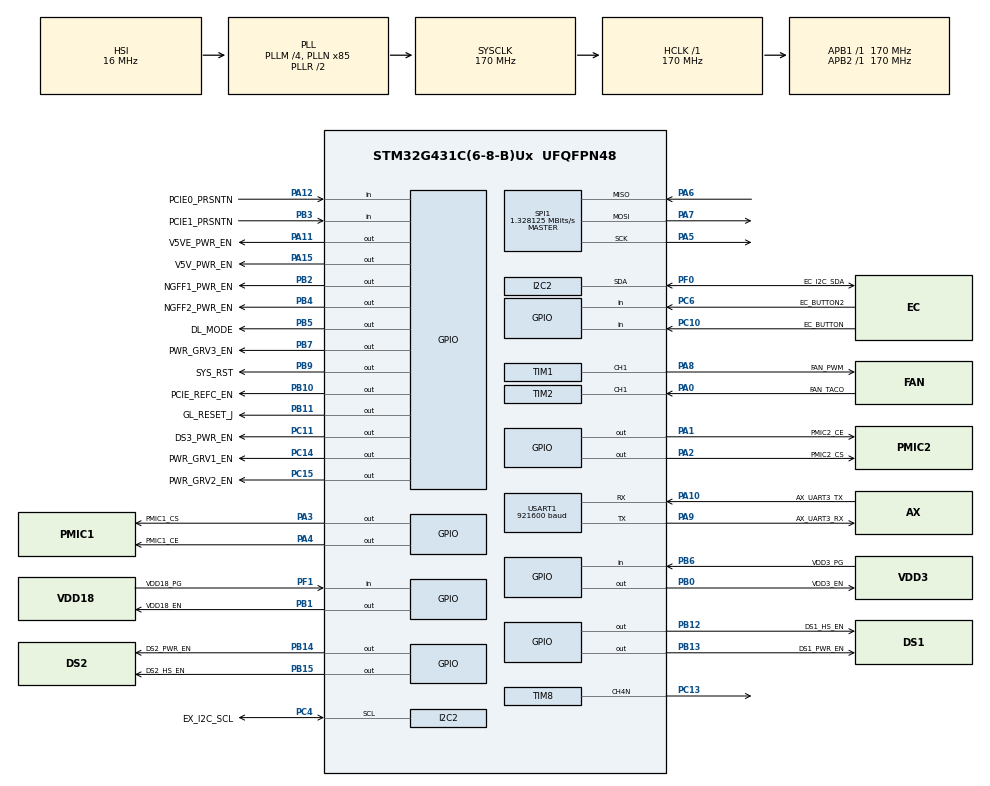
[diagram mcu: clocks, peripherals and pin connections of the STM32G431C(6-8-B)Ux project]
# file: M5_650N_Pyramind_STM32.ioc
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CRC.CRCLength=CRC_POLYLENGTH_16B
CRC.DefaultInitValueUse=DEFAULT_INIT_VALUE_DISABLE
CRC.DefaultPolynomialUse=DEFAULT_POLYNOMIAL_DISABLE
CRC.GeneratingPolynomial=X15+X2+X0
CRC.InitValue=0xFFFF
CRC.InputDataInversionMode=CRC_INPUTDATA_INVERSION_BYTE
CRC.OutputDataInversionMode=CRC_OUTPUTDATA_INVERSION_ENABLE
Dma.Request0=TIM8_CH4
Dma.TIM8_CH4.0.Direction=DMA_MEMORY_TO_PERIPH
Dma.TIM8_CH4.0.EventEnable=DISABLE
Dma.TIM8_CH4.0.Instance=DMA1_Channel5
Dma.TIM8_CH4.0.MemDataAlignment=DMA_MDATAALIGN_HALFWORD
Dma.TIM8_CH4.0.MemInc=DMA_MINC_ENABLE
Dma.TIM8_CH4.0.Mode=DMA_NORMAL
Dma.TIM8_CH4.0.PeriphDataAlignment=DMA_PDATAALIGN_HALFWORD
Dma.TIM8_CH4.0.PeriphInc=DMA_PINC_DISABLE
Dma.TIM8_CH4.0.Polarity=HAL_DMAMUX_REQ_GEN_RISING
Dma.TIM8_CH4.0.Priority=DMA_PRIORITY_LOW
Dma.TIM8_CH4.0.RequestNumber=1
Dma.TIM8_CH4.0.SignalID=NONE
Dma.TIM8_CH4.0.SyncEnable=DISABLE
Dma.TIM8_CH4.0.SyncPolarity=HAL_DMAMUX_SYNC_NO_EVENT
Dma.TIM8_CH4.0.SyncRequestNumber=1
Dma.TIM8_CH4.0.SyncSignalID=NONE
I2C2.I2C_Speed_Mode=I2C_Fast
I2C2.Timing=0x40621236
IWDG.Prescaler=IWDG_PRESCALER_32
IWDG.Window=4095
Mcu.Family=STM32G4
Mcu.Name=STM32G431C(6-8-B)Ux
Mcu.Package=UFQFPN48
NVIC.DMA1_Channel5_IRQn=true\:1\:0\:true\:false\:true\:false\:true\:true
NVIC.PriorityGroup=NVIC_PRIORITYGROUP_4
NVIC.TIM2_IRQn=true\:2\:0\:true\:false\:true\:true\:true\:true
NVIC.TIM3_IRQn=true\:1\:0\:true\:false\:true\:true\:true\:true
NVIC.USART1_IRQn=true\:0\:0\:false\:false\:true\:true\:true\:true
PA0.GPIO_Label=FAN_TACO
PA0.GPIO_PuPd=GPIO_PULLDOWN
PA0.GPIO_Speed=GPIO_SPEED_FREQ_VERY_HIGH
PA0.Signal=S_TIM2_CH1
PA1.GPIO_Label=PMIC2_CE
PA1.GPIO_PuPd=GPIO_NOPULL
PA1.GPIO_Speed=GPIO_SPEED_FREQ_LOW
PA1.PinState=GPIO_PIN_RESET
PA1.Signal=GPIO_Output
PA10.GPIO_Label=AX_UART3_TX
PA10.GPIO_PuPd=GPIO_NOPULL
PA10.GPIO_Speed=GPIO_SPEED_FREQ_LOW
PA10.Mode=Asynchronous
PA10.Signal=USART1_RX
PA11.GPIO_Label=V5VE_PWR_EN
PA11.GPIO_PuPd=GPIO_NOPULL
PA11.GPIO_Speed=GPIO_SPEED_FREQ_LOW
PA11.PinState=GPIO_PIN_RESET
PA11.Signal=GPIO_Output
PA12.GPIO_Label=PCIE0_PRSNTN
PA12.GPIO_PuPd=GPIO_PULLUP
PA12.Signal=GPIO_Input
PA13.Mode=Serial_Wire
PA13.Signal=SYS_JTMS-SWDIO
PA14.Mode=Serial_Wire
PA14.Signal=SYS_JTCK-SWCLK
PA15.GPIO_Label=V5V_PWR_EN
PA15.GPIO_PuPd=GPIO_NOPULL
PA15.GPIO_Speed=GPIO_SPEED_FREQ_LOW
PA15.Signal=GPIO_Output
PA2.GPIO_Label=PMIC2_CS
PA2.GPIO_ModeDefaultOutputPP=GPIO_MODE_OUTPUT_PP
PA2.GPIO_PuPd=GPIO_NOPULL
PA2.GPIO_Speed=GPIO_SPEED_FREQ_LOW
PA2.PinState=GPIO_PIN_SET
PA2.Signal=GPIO_Output
PA3.GPIO_Label=PMIC1_CS
PA3.GPIO_PuPd=GPIO_NOPULL
PA3.GPIO_Speed=GPIO_SPEED_FREQ_LOW
PA3.PinState=GPIO_PIN_SET
PA3.Signal=GPIO_Output
PA4.GPIO_Label=PMIC1_CE
PA4.GPIO_PuPd=GPIO_NOPULL
PA4.GPIO_Speed=GPIO_SPEED_FREQ_LOW
PA4.PinState=GPIO_PIN_RESET
PA4.Signal=GPIO_Output
PA5.Mode=Full_Duplex_Master
PA5.Signal=SPI1_SCK
PA6.Mode=Full_Duplex_Master
PA6.Signal=SPI1_MISO
PA7.Mode=Full_Duplex_Master
PA7.Signal=SPI1_MOSI
PA8.GPIO_Label=FAN_PWM
PA8.Signal=S_TIM1_CH1
PA9.GPIO_Label=AX_UART3_RX
PA9.GPIO_PuPd=GPIO_NOPULL
PA9.GPIO_Speed=GPIO_SPEED_FREQ_LOW
PA9.Mode=Asynchronous
PA9.Signal=USART1_TX
PB0.GPIO_Label=VDD3_EN
PB0.GPIO_PuPd=GPIO_NOPULL
PB0.Signal=GPIO_Output
PB1.GPIO_Label=VDD18_EN
PB1.GPIO_PuPd=GPIO_NOPULL
PB1.Signal=GPIO_Output
PB10.GPIO_Label=PCIE_REFC_EN
PB10.GPIO_PuPd=GPIO_NOPULL
PB10.Signal=GPIO_Output
PB11.GPIO_Label=GL_RESET_J
PB11.GPIO_PuPd=GPIO_NOPULL
PB11.Signal=GPIO_Output
PB12.GPIO_Label=DS1_HS_EN
PB12.GPIO_PuPd=GPIO_NOPULL
PB12.Signal=GPIO_Output
PB13.GPIO_Label=DS1_PWR_EN
PB13.GPIO_PuPd=GPIO_NOPULL
PB13.PinState=GPIO_PIN_SET
PB13.Signal=GPIO_Output
PB14.GPIO_Label=DS2_PWR_EN
PB14.GPIO_PuPd=GPIO_NOPULL
PB14.PinState=GPIO_PIN_SET
PB14.Signal=GPIO_Output
PB15.GPIO_Label=DS2_HS_EN
PB15.GPIO_PuPd=GPIO_NOPULL
PB15.Signal=GPIO_Output
PB2.GPIO_Label=NGFF1_PWR_EN
PB2.GPIO_PuPd=GPIO_NOPULL
PB2.Signal=GPIO_Output
PB3.GPIO_Label=PCIE1_PRSNTN
PB3.GPIO_PuPd=GPIO_PULLUP
PB3.Signal=GPIO_Input
PB4.GPIO_Label=NGFF2_PWR_EN
PB4.GPIO_PuPd=GPIO_NOPULL
PB4.Signal=GPIO_Output
PB5.GPIO_Label=DL_MODE
PB5.GPIO_PuPd=GPIO_NOPULL
PB5.Signal=GPIO_Output
PB6.GPIO_Label=VDD3_PG
PB6.GPIO_PuPd=GPIO_PULLUP
PB6.Signal=GPIO_Input
PB7.GPIO_Label=PWR_GRV3_EN
PB7.GPIO_PuPd=GPIO_NOPULL
PB7.PinState=GPIO_PIN_SET
PB7.Signal=GPIO_Output
PB9.GPIO_Label=SYS_RST
PB9.GPIO_ModeDefaultOutputPP=GPIO_MODE_OUTPUT_OD
PB9.GPIO_PuPd=GPIO_NOPULL
PB9.PinState=GPIO_PIN_RESET
PB9.Signal=GPIO_Output
PC10.GPIO_Label=EC_BUTTON
PC10.GPIO_PuPd=GPIO_PULLUP
PC10.Signal=GPIO_Input
PC11.GPIO_Label=DS3_PWR_EN
PC11.GPIO_PuPd=GPIO_NOPULL
PC11.PinState=GPIO_PIN_SET
PC11.Signal=GPIO_Output
PC13.Mode=PWM Generation4 CH4N
PC13.Signal=TIM8_CH4N
PC14-OSC32_IN.GPIO_Label=PWR_GRV1_EN
PC14-OSC32_IN.GPIO_PuPd=GPIO_NOPULL
PC14-OSC32_IN.PinState=GPIO_PIN_SET
PC14-OSC32_IN.Signal=GPIO_Output
PC15-OSC32_OUT.GPIO_Label=PWR_GRV2_EN
PC15-OSC32_OUT.GPIO_PuPd=GPIO_NOPULL
PC15-OSC32_OUT.Signal=GPIO_Output
PC4.GPIO_Label=EX_I2C_SCL
PC4.GPIO_Pu=GPIO_PULLUP
PC4.GPIO_Speed=GPIO_SPEED_FREQ_LOW
PC4.Mode=I2C
PC4.Signal=I2C2_SCL
PC6.GPIO_Label=EC_BUTTON2
PC6.GPIO_PuPd=GPIO_PULLUP
PC6.Signal=GPIO_Input
PF0-OSC_IN.GPIO_Label=EC_I2C_SDA
PF0-OSC_IN.GPIO_Pu=GPIO_PULLUP
PF0-OSC_IN.GPIO_Speed=GPIO_SPEED_FREQ_LOW
PF0-OSC_IN.Mode=I2C
PF0-OSC_IN.Signal=I2C2_SDA
PF1-OSC_OUT.GPIO_Label=VDD18_PG
PF1-OSC_OUT.GPIO_PuPd=GPIO_PULLUP
PF1-OSC_OUT.Signal=GPIO_Input
ProjectManager.HeapSize=0x200
ProjectManager.StackSize=0x400
ProjectManager.TargetToolchain=STM32CubeIDE
RCC.ADC12Freq_Value=170000000
RCC.AHBFreq_Value=170000000
RCC.APB1Freq_Value=170000000
RCC.APB1TimFreq_Value=170000000
RCC.APB2Freq_Value=170000000
RCC.APB2TimFreq_Value=170000000
RCC.CortexFreq_Value=170000000
RCC.EXTERNAL_CLOCK_VALUE=12288000
RCC.HCLKFreq_Value=170000000
RCC.HSE_VALUE=8000000
RCC.HSI48_VALUE=48000000
RCC.HSI_VALUE=16000000
RCC.LSE_VALUE=32768
RCC.PLLM=RCC_PLLM_DIV4
RCC.PLLN=85
RCC.SYSCLKFreq_VALUE=170000000
RCC.SYSCLKSource=RCC_SYSCLKSOURCE_PLLCLK
RCC.USBFreq_Value=170000000
RCC.VCOOutputFreq_Value=340000000
SH.S_TIM1_CH1.0=TIM1_CH1,PWM Generation1 CH1
SH.S_TIM2_CH1.0=TIM2_CH1,Input_Capture1_from_TI1
SPI1.BaudRatePrescaler=SPI_BAUDRATEPRESCALER_128
SPI1.CalculateBaudRate=1.328125 MBits/s
SPI1.DataSize=SPI_DATASIZE_8BIT
SPI1.Direction=SPI_DIRECTION_2LINES
SPI1.Mode=SPI_MODE_MASTER
SPI1.NSSPMode=SPI_NSS_PULSE_ENABLE
SPI1.VirtualType=VM_MASTER
TIM1.Channel-PWM\ Generation1\ CH1=TIM_CHANNEL_1
TIM1.PeriodNoDither=6799
TIM1.Prescaler=0
TIM2.Channel-Input_Capture1_from_TI1=TIM_CHANNEL_1
TIM2.ICFilter_CH1=8
TIM2.PeriodNoDither=0xFFFFFFFF
TIM2.Prescaler=169
TIM3.PeriodNoDither=35
TIM3.Prescaler=8500-1
TIM8.Channel-PWM\ Generation4\ CH4N=TIM_CHANNEL_4
TIM8.PeriodNoDither=211
USART1.BaudRate=921600
USART1.VirtualMode-Asynchronous=VM_ASYNC
VP_CRC_VS_CRC.Mode=CRC_Activate
VP_IWDG_VS_IWDG.Mode=IWDG_Activate
VP_SYS_VS_DBSignals.Mode=DisableDeadBatterySignals
VP_TIM1_VS_ClockSourceINT.Mode=Internal
VP_TIM2_VS_ClockSourceINT.Mode=Internal
VP_TIM3_VS_ClockSourceINT.Mode=Internal
VP_TIM8_VS_ClockSourceINT.Mode=Internal
board=custom

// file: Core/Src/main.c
/* USER CODE BEGIN Header */
/**
 ******************************************************************************
 * @file           : main.c
 * @brief          : Main program body
 ******************************************************************************
 * @attention
 *
 * Copyright (c) 2025 STMicroelectronics.
 * All rights reserved.
 *
 * This software is licensed under terms that can be found in the LICENSE file
 * in the root directory of this software component.
 * If no LICENSE file comes with this software, it is provided AS-IS.
 *
 ******************************************************************************
 */
/* USER CODE END Header */
#include "main.h"
#include "crc.h"
#include "dma.h"
#include "i2c.h"
#include "iwdg.h"
#include "spi.h"
#include "tim.h"
#include "usart.h"
#include "gpio.h"

/* USER CODE BEGIN Includes */
#include "demo.h"
#include "lcd.h"
#include "fan.h"
#include "flash.h"
#include "ina3221.h"
#include "mb.h"
#include "mbport.h"
#include "power.h"
#include "rgb.h"
/* USER CODE END Includes */

/* USER CODE BEGIN PD */
#define UART_TIMEOUT_MS (300)
/* USER CODE END PD */

/* USER CODE BEGIN PV */
ina3221_t ina1 = {0};
ina3221_t ina2 = {0};

__IO uint32_t start_tick        = 0;
__IO uint8_t lcd_update_enabled = 0;

__IO uint8_t uart_receiving_flag      = 0;
__IO uint32_t uart_receive_start_tick = 0;
__IO uint8_t uart_send_flag           = 0;
__IO uint32_t uart_send_start_tick    = 0;

/* USER CODE END PV */

void SystemClock_Config(void);

/* USER CODE BEGIN 0 */

void I2C2_ScanAddress(void)
{
    uint8_t i;
    HAL_StatusTypeDef result;

    printf("Start I2C2 scanning:\r\n");

    for (i = 1; i < 128; i++) {
        // STM32 HAL 要左移一位（7位地址），最低位补0
        result = HAL_I2C_IsDeviceReady(&hi2c2, (uint16_t)(i << 1), 3, 10);
        if (result == HAL_OK) {
            printf("I2C device found at address 0x%02X (7-bit: 0x%02X)\r\n", i << 1, i);
            HAL_Delay(10);
        }
    }
    printf("I2C scan finished.\r\n");
}

/* USER CODE END 0 */

int main(void)
{

    /* MCU Configuration--------------------------------------------------------*/

    /* Reset of all peripherals, Initializes the Flash interface and the Systick. */
    HAL_Init();

    /* Configure the system clock */
    SystemClock_Config();

    /* Initialize all configured peripherals */
    MX_GPIO_Init();
    MX_DMA_Init();
    MX_IWDG_Init();
    MX_USART1_UART_Init();
    MX_I2C2_Init();
    MX_SPI1_Init();
    MX_TIM1_Init();
    MX_TIM2_Init();
    MX_TIM3_Init();
    MX_TIM8_Init();
    MX_CRC_Init();
    /* USER CODE BEGIN 2 */
    flash_init();
    modbus_reg_init();
    fan_init();
    rgb_init();
    rgb_power_start_indicate();
    system_power_boot();
    peripheral_power_boot();
    rgb_power_complete_indicate();
    ina3221_init(&ina1, &hi2c2, (INA3221_ADDR_A1A0_00 << 1));
    ina3221_init(&ina2, &hi2c2, (INA3221_ADDR_A1A0_01 << 1));
    lcd_init();
    start_tick = HAL_GetTick();
    eMBErrorCode eStatus;
    button_init();
    eStatus = eMBInit(MB_RTU, 0x01, 1, USART_DEFAULT_BAUDRATE, MB_PAR_NONE);
    eStatus = eMBEnable();
    /* USER CODE END 2 */

    /* Infinite loop */
    /* USER CODE BEGIN WHILE */

    while (1) {
        eMBErrorCode status = eMBPoll();
        if (uart_receiving_flag) {
            if ((HAL_GetTick() - uart_receive_start_tick) > UART_TIMEOUT_MS) {
                uart_receiving_flag = 0;
                __disable_irq();
                eMBClose();
                eMBDisable();
                HAL_UART_MspInit(&huart1);
                HAL_UART_MspInit(&huart1);
                MX_UART_Init(baudrate);
                eMBInit(MB_RTU, 0x01, 1, baudrate, MB_PAR_NONE);
                eMBEnable();
                __enable_irq();
            }
        }
        update_baudrate();
        update_rgb_custom();
        if (lcd_update_enabled) {
            update_lcd();
        } else {
            if (!lcd_update_enabled && (HAL_GetTick() - start_tick >= 15000)) {
                lcd_update_enabled = 1;
            }
        }
        peripheral_power_update();
        power_update();
        system_power_update();
        button_press_wakeup();
        button_scan();
        time_wakeup();
        /* USER CODE END WHILE */

        /* USER CODE BEGIN 3 */
        HAL_IWDG_Refresh(&hiwdg);  // Reset Watchdog (prevent system reset)
    }
    /* USER CODE END 3 */
}

void SystemClock_Config(void)
{
    RCC_OscInitTypeDef RCC_OscInitStruct = {0};
    RCC_ClkInitTypeDef RCC_ClkInitStruct = {0};

    /** Configure the main internal regulator output voltage
     */
    HAL_PWREx_ControlVoltageScaling(PWR_REGULATOR_VOLTAGE_SCALE1_BOOST);

    /** Initializes the RCC Oscillators according to the specified parameters
     * in the RCC_OscInitTypeDef structure.
     */
    RCC_OscInitStruct.OscillatorType      = RCC_OSCILLATORTYPE_HSI | RCC_OSCILLATORTYPE_LSI;
    RCC_OscInitStruct.HSIState            = RCC_HSI_ON;
    RCC_OscInitStruct.HSICalibrationValue = RCC_HSICALIBRATION_DEFAULT;
    RCC_OscInitStruct.LSIState            = RCC_LSI_ON;
    RCC_OscInitStruct.PLL.PLLState        = RCC_PLL_ON;
    RCC_OscInitStruct.PLL.PLLSource       = RCC_PLLSOURCE_HSI;
    RCC_OscInitStruct.PLL.PLLM            = RCC_PLLM_DIV4;
    RCC_OscInitStruct.PLL.PLLN            = 85;
    RCC_OscInitStruct.PLL.PLLP            = RCC_PLLP_DIV2;
    RCC_OscInitStruct.PLL.PLLQ            = RCC_PLLQ_DIV2;
    RCC_OscInitStruct.PLL.PLLR            = RCC_PLLR_DIV2;
    if (HAL_RCC_OscConfig(&RCC_OscInitStruct) != HAL_OK) {
        Error_Handler();
    }

    /** Initializes the CPU, AHB and APB buses clocks
     */
    RCC_ClkInitStruct.ClockType = RCC_CLOCKTYPE_HCLK | RCC_CLOCKTYPE_SYSCLK | RCC_CLOCKTYPE_PCLK1 | RCC_CLOCKTYPE_PCLK2;
    RCC_ClkInitStruct.SYSCLKSource   = RCC_SYSCLKSOURCE_PLLCLK;
    RCC_ClkInitStruct.AHBCLKDivider  = RCC_SYSCLK_DIV1;
    RCC_ClkInitStruct.APB1CLKDivider = RCC_HCLK_DIV1;
    RCC_ClkInitStruct.APB2CLKDivider = RCC_HCLK_DIV1;

    if (HAL_RCC_ClockConfig(&RCC_ClkInitStruct, FLASH_LATENCY_4) != HAL_OK) {
        Error_Handler();
    }
}

void Error_Handler(void)
{
    __disable_irq();
    while (1) {
    }
}

#ifdef USE_FULL_ASSERT
/**
 * @brief  Reports the name of the source file and the source line number
 *         where the assert_param error has occurred.
 * @param  file: pointer to the source file name
 * @param  line: assert_param error line source number
 * @retval None
 */
void assert_failed(uint8_t *file, uint32_t line)
{
    /* USER CODE BEGIN 6 */
    /* User can add his own implementation to report the file name and line
       number, ex: printf("Wrong parameters value: file %s on line %d\r\n", file,
       line) */
    /* USER CODE END 6 */
}
#endif /* USE_FULL_ASSERT */
